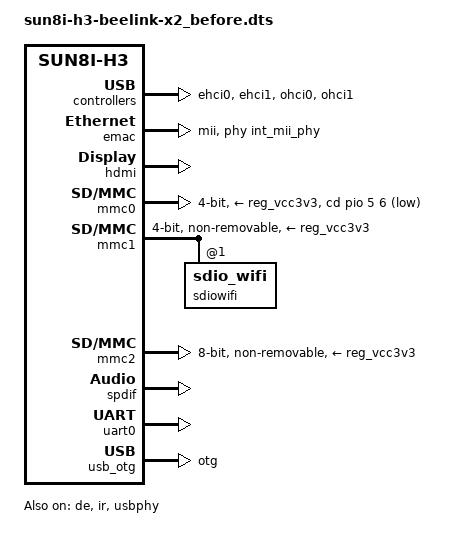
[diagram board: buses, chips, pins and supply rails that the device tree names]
	aliases {
		serial0 = &uart0;
		/* ethernet0 is the H3 emac, defined in sun8i-h3.dtsi */
		ethernet1 = &sdiowifi;
	};

	chosen {
		stdout-path = "serial0:115200n8";
	};

	connector {
		compatible = "hdmi-connector";
		type = "a";

		port {
			hdmi_con_in: endpoint {
				remote-endpoint = <&hdmi_out_con>;
			};
		};
	};

	leds {
		compatible = "gpio-leds";

		blue {
			label = "beelink-x2:blue:pwr";
			gpios = <&r_pio 0 10 GPIO_ACTIVE_HIGH>; /* PL10 */
			default-state = "on";
		};

		red {
			label = "beelink-x2:red:standby";
			gpios = <&pio 0 15 GPIO_ACTIVE_HIGH>; /* PA15 */
		};
	};

	wifi_pwrseq: wifi_pwrseq {
		compatible = "mmc-pwrseq-simple";
		reset-gpios = <&r_pio 0 7 GPIO_ACTIVE_LOW>; /* PL7 */
	};

	sound_spdif {
		compatible = "simple-audio-card";
		simple-audio-card,name = "On-board SPDIF";

		simple-audio-card,cpu {
			sound-dai = <&spdif>;
		};

		simple-audio-card,codec {
			sound-dai = <&spdif_out>;
		};
	};

	spdif_out: spdif-out {
		#sound-dai-cells = <0>;
		compatible = "linux,spdif-dit";
	};
};

&de {
	status = "okay";
};

&ehci0 {
	status = "okay";
};

&ehci1 {
	status = "okay";
};

&emac {
	phy-handle = <&int_mii_phy>;
	phy-mode = "mii";
	allwinner,leds-active-low;
	status = "okay";
};

&hdmi {
	status = "okay";
};

&hdmi_out {
	hdmi_out_con: endpoint {
		remote-endpoint = <&hdmi_con_in>;
	};
};

&ir {
	pinctrl-names = "default";
	pinctrl-0 = <&ir_pins_a>;
	status = "okay";
};

&mmc0 {
	vmmc-supply = <&reg_vcc3v3>;
	bus-width = <4>;
	cd-gpios = <&pio 5 6 GPIO_ACTIVE_LOW>; /* PF6 */
	status = "okay";
};

&mmc1 {
	vmmc-supply = <&reg_vcc3v3>;
	bus-width = <4>;
	non-removable;
	status = "okay";

	/*
	 * Explicitly define the sdio device, so that we can add an ethernet
	 * alias for it (which e.g. makes u-boot set a mac-address).
	 */
	sdiowifi: sdio_wifi@1 {
		reg = <1>;
	};
};

&mmc2 {
	pinctrl-names = "default";
	pinctrl-0 = <&mmc2_8bit_pins>;
	vmmc-supply = <&reg_vcc3v3>;
	bus-width = <8>;
	non-removable;
	cap-mmc-hw-reset;
	status = "okay";
};

&ohci0 {
	status = "okay";
};

&ohci1 {
	status = "okay";
};

&reg_usb0_vbus {
	gpio = <&r_pio 0 2 GPIO_ACTIVE_HIGH>; /* PL2 */
	status = "okay";
};

&spdif {
	pinctrl-names = "default";
	pinctrl-0 = <&spdif_tx_pins_a>;
	status = "okay";
};

&uart0 {
	pinctrl-names = "default";
	pinctrl-0 = <&uart0_pins_a>;
	status = "okay";
};

&usb_otg {
	dr_mode = "otg";
	status = "okay";
};

&usbphy {
	/* USB VBUS is always on except for the OTG port */
	status = "okay";
	usb0_id_det-gpios = <&pio 0 7 GPIO_ACTIVE_HIGH>; /* PA07 */
	usb0_vbus-supply = <&reg_usb0_vbus>;
};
